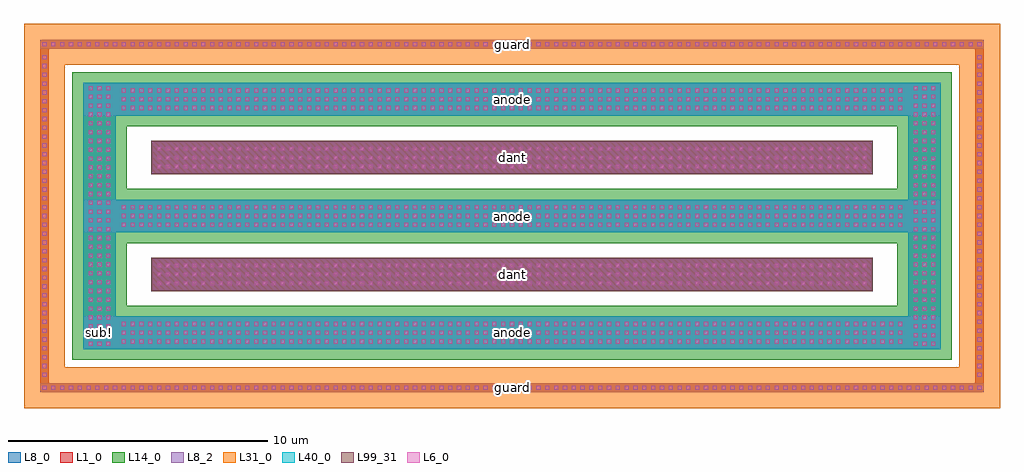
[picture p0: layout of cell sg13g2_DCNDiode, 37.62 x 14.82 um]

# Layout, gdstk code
import gdstk
lib = gdstk.Library(unit=1e-6, precision=5e-09)
def R(c, l, rs):  # rectangles x0, y0, x1, y1
    for r in rs: c.add(gdstk.rectangle(r[:2], r[2:], *l))
def A(c, l, x, y, w, h, nx, ny, dx, dy):  # array of equal rectangles
    R(c, l, [(x+i*dx, y+j*dy, x+i*dx+w, y+j*dy+h) for i in range(nx) for j in range(ny)])
def P(c, l, *ps):  # polygons
    for p in ps: c.add(gdstk.Polygon(p, *l))
L1_0 = (1, 0)
L6_0 = (6, 0)
L8_0 = (8, 0)
L8_2 = (8, 2)
L14_0 = (14, 0)
L31_0 = (31, 0)
L40_0 = (40, 0)
L99_31 = (99, 31)

sg13g2_dcndiode = lib.new_cell('sg13g2_DCNDiode')
R(sg13g2_dcndiode, L1_0, [(2.64,2.25,30.42,3.51), (2.64,6.75,30.42,8.01)])
P(sg13g2_dcndiode, L1_0, [(-1.66,-1.66),(-1.66,11.58),(-1.32,11.58),(-1.32,-1.32),(34.38,-1.32),(34.38,11.58),(-1.66,11.58),(-1.66,11.92),(34.72,11.92),(34.72,-1.66)],
  [(0,0),(0,4.5),(1.26,4.5),(1.26,1.26),(31.8,1.26),(31.8,4.5),(0,4.5),(0,9),(1.26,9),(1.26,5.76),(31.8,5.76),(31.8,9),(0,9),(0,10.26),(33.06,10.26),(33.06,0)])
A(sg13g2_dcndiode, L6_0, -1.57, -1.57, 0.16, 0.16, 107, 2, 0.34, 13.24)
A(sg13g2_dcndiode, L6_0, -1.57, -1.07, 0.16, 0.16, 1, 37, 0, 0.34)
A(sg13g2_dcndiode, L6_0, 34.47, -1.07, 0.16, 0.16, 1, 37, 0, 0.34)
A(sg13g2_dcndiode, L6_0, 0.21, 0.12, 0.16, 0.16, 3, 30, 0.34, 0.34)
A(sg13g2_dcndiode, L6_0, 32.01, 0.12, 0.16, 0.16, 3, 30, 0.34, 0.34)
A(sg13g2_dcndiode, L6_0, 1.49, 0.21, 0.16, 0.16, 89, 3, 0.34, 0.34)
A(sg13g2_dcndiode, L6_0, 2.85, 2.46, 0.16, 0.16, 81, 3, 0.34, 0.34)
A(sg13g2_dcndiode, L6_0, 1.49, 4.71, 0.16, 0.16, 89, 3, 0.34, 0.34)
A(sg13g2_dcndiode, L6_0, 2.85, 6.96, 0.16, 0.16, 81, 3, 0.34, 0.34)
A(sg13g2_dcndiode, L6_0, 1.49, 9.21, 0.16, 0.16, 89, 3, 0.34, 0.34)
R(sg13g2_dcndiode, L8_0, [(-1.66,-1.66,34.72,-1.32), (2.64,2.25,30.42,3.51), (2.64,6.75,30.42,8.01), (-1.66,11.58,34.72,11.92)])
P(sg13g2_dcndiode, L8_0, [(-1.66,-1.66),(-1.66,11.58),(-1.32,11.58),(-1.32,-1.32),(34.38,-1.32),(34.38,11.58),(-1.66,11.58),(-1.66,11.92),(34.72,11.92),(34.72,-1.66)],
  [(0,0),(0,4.5),(1.26,4.5),(1.26,1.26),(31.8,1.26),(31.8,4.5),(0,4.5),(0,9),(1.26,9),(1.26,5.76),(31.8,5.76),(31.8,9),(0,9),(0,10.26),(33.06,10.26),(33.06,0)])
A(sg13g2_dcndiode, L8_2, 0, 0, 33.06, 1.26, 1, 3, 0, 4.5)
R(sg13g2_dcndiode, L8_2, [(-1.66,-1.66,34.72,-1.32), (2.64,2.25,30.42,3.51), (2.64,6.75,30.42,8.01), (-1.66,11.58,34.72,11.92)])
P(sg13g2_dcndiode, L14_0, [(-0.42,-0.42),(-0.42,4.08),(1.68,4.08),(1.68,1.68),(31.38,1.68),(31.38,4.08),(-0.42,4.08),(-0.42,8.58),(1.68,8.58),(1.68,6.18),(31.38,6.18),(31.38,8.58),(-0.42,8.58),(-0.42,10.68),(33.48,10.68),(33.48,-0.42)])
P(sg13g2_dcndiode, L31_0, [(-2.28,-2.28),(-2.28,10.96),(-0.7,10.96),(-0.7,-0.7),(33.76,-0.7),(33.76,10.96),(-2.28,10.96),(-2.28,12.54),(35.34,12.54),(35.34,-2.28)])
P(sg13g2_dcndiode, L40_0, [(0,0),(0,4.5),(1.26,4.5),(1.26,1.26),(31.8,1.26),(31.8,4.5),(0,4.5),(0,9),(1.26,9),(1.26,5.76),(31.8,5.76),(31.8,9),(0,9),(0,10.26),(33.06,10.26),(33.06,0)])
R(sg13g2_dcndiode, L99_31, [(2.62,2.23,30.44,3.53), (2.62,6.73,30.44,8.03)])
sg13g2_dcndiode.add(gdstk.Label('dant', (16.53,7.38), layer=63, texttype=0))
sg13g2_dcndiode.add(gdstk.Label('sub!', (0.63,0.63), layer=63, texttype=0))
sg13g2_dcndiode.add(gdstk.Label('dant', (16.53,2.88), layer=63, texttype=0))
sg13g2_dcndiode.add(gdstk.Label('cathode1', (16.53,2.88), layer=8, texttype=25))
sg13g2_dcndiode.add(gdstk.Label('cathode2', (16.53,7.38), layer=8, texttype=25))
sg13g2_dcndiode.add(gdstk.Label('guard', (16.53,11.75), layer=8, texttype=25))
sg13g2_dcndiode.add(gdstk.Label('guard', (16.53,-1.49), layer=8, texttype=25))
sg13g2_dcndiode.add(gdstk.Label('anode', (16.53,5.13), layer=8, texttype=25))
sg13g2_dcndiode.add(gdstk.Label('anode', (16.53,0.63), layer=8, texttype=25))
sg13g2_dcndiode.add(gdstk.Label('anode', (16.53,9.63), layer=8, texttype=25))

lib.write_gds('sg13g2_DCNDiode.gds')
